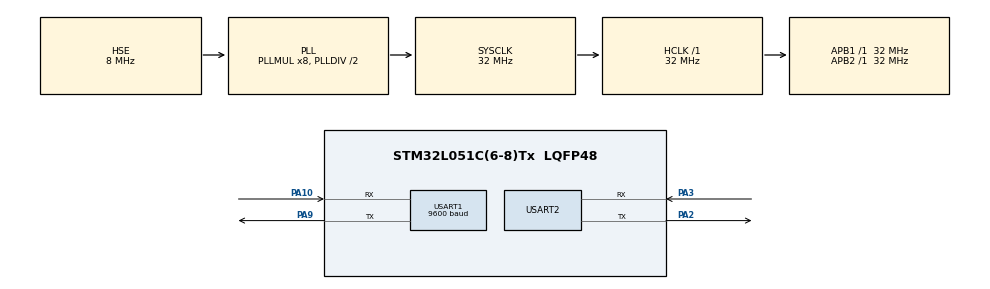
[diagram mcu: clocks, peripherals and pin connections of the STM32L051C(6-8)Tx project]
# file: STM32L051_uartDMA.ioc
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Dma.Request0=USART1_RX
Dma.Request1=USART2_RX
Dma.USART1_RX.0.Direction=DMA_PERIPH_TO_MEMORY
Dma.USART1_RX.0.Instance=DMA1_Channel3
Dma.USART1_RX.0.MemDataAlignment=DMA_MDATAALIGN_BYTE
Dma.USART1_RX.0.MemInc=DMA_MINC_ENABLE
Dma.USART1_RX.0.Mode=DMA_CIRCULAR
Dma.USART1_RX.0.PeriphDataAlignment=DMA_PDATAALIGN_BYTE
Dma.USART1_RX.0.PeriphInc=DMA_PINC_DISABLE
Dma.USART1_RX.0.Priority=DMA_PRIORITY_LOW
Dma.USART2_RX.1.Direction=DMA_PERIPH_TO_MEMORY
Dma.USART2_RX.1.Instance=DMA1_Channel5
Dma.USART2_RX.1.MemDataAlignment=DMA_MDATAALIGN_BYTE
Dma.USART2_RX.1.MemInc=DMA_MINC_ENABLE
Dma.USART2_RX.1.Mode=DMA_CIRCULAR
Dma.USART2_RX.1.PeriphDataAlignment=DMA_PDATAALIGN_BYTE
Dma.USART2_RX.1.PeriphInc=DMA_PINC_DISABLE
Dma.USART2_RX.1.Priority=DMA_PRIORITY_LOW
Mcu.Family=STM32L0
Mcu.Name=STM32L051C(6-8)Tx
Mcu.Package=LQFP48
NVIC.DMA1_Channel2_3_IRQn=true\:0\:0\:false\:false\:true\:false\:true
NVIC.DMA1_Channel4_5_6_7_IRQn=true\:0\:0\:false\:false\:true\:false\:true
NVIC.USART1_IRQn=true\:0\:0\:false\:false\:true\:true\:true
NVIC.USART2_IRQn=true\:0\:0\:false\:false\:true\:true\:true
PA10.Mode=Asynchronous
PA10.Signal=USART1_RX
PA13.Mode=Serial_Wire
PA13.Signal=SYS_SWDIO
PA14.Mode=Serial_Wire
PA14.Signal=SYS_SWCLK
PA2.Mode=Asynchronous
PA2.Signal=USART2_TX
PA3.Mode=Asynchronous
PA3.Signal=USART2_RX
PA9.Mode=Asynchronous
PA9.Signal=USART1_TX
PH0-OSC_IN.Mode=HSE-External-Oscillator
PH0-OSC_IN.Signal=RCC_OSC_IN
PH1-OSC_OUT.Mode=HSE-External-Oscillator
PH1-OSC_OUT.Signal=RCC_OSC_OUT
ProjectManager.HeapSize=0x200
ProjectManager.StackSize=0x400
ProjectManager.TargetToolchain=MDK-ARM V5.27
RCC.AHBFreq_Value=32000000
RCC.APB1Freq_Value=32000000
RCC.APB1TimFreq_Value=32000000
RCC.APB2Freq_Value=32000000
RCC.APB2TimFreq_Value=32000000
RCC.HCLKFreq_Value=32000000
RCC.HSE_VALUE=8000000
RCC.HSI16_VALUE=16000000
RCC.HSI_VALUE=16000000
RCC.LSE_VALUE=32768
RCC.MSI_VALUE=2097000
RCC.PLLMUL=RCC_PLLMUL_8
RCC.PLLSourceVirtual=RCC_PLLSOURCE_HSE
RCC.SYSCLKFreq_VALUE=32000000
RCC.SYSCLKSource=RCC_SYSCLKSOURCE_PLLCLK
RCC.VCOOutputFreq_Value=64000000
USART1.BaudRate=9600
USART1.VirtualMode-Asynchronous=VM_ASYNC
USART2.VirtualMode-Asynchronous=VM_ASYNC
VP_IWDG_VS_IWDG.Mode=IWDG_Activate
board=custom

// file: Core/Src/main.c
/* USER CODE BEGIN Header */
/**
  ******************************************************************************
  * @file           : main.c
  * @brief          : Main program body
  ******************************************************************************
  * @attention
  *
  * <h2><center>&copy; Copyright (c) 2021 STMicroelectronics.
  * All rights reserved.</center></h2>
  *
  * This software component is licensed by ST under BSD 3-Clause license,
  * the "License"; You may not use this file except in compliance with the
  * License. You may obtain a copy of the License at:
  *                        opensource.org/licenses/BSD-3-Clause
  *
  ******************************************************************************
  */
/* USER CODE END Header */
#include "main.h"

/* USER CODE BEGIN Includes */
#include <string.h>
#include <stdlib.h>
/* USER CODE END Includes */

IWDG_HandleTypeDef hiwdg;

UART_HandleTypeDef huart1;
UART_HandleTypeDef huart2;
DMA_HandleTypeDef hdma_usart1_rx;
DMA_HandleTypeDef hdma_usart2_rx;

void SystemClock_Config(void);
static void MX_GPIO_Init(void);
static void MX_DMA_Init(void);
static void MX_IWDG_Init(void);
static void MX_USART1_UART_Init(void);
static void MX_USART2_UART_Init(void);

/* USER CODE BEGIN 0 */
 UART_DataTypeDef rx1,rx2;

/*******************************************************************************
** 函数名称: UART_Rx_IDLECallback
** 功能描述: 串口接收空闲中断回调
** 参数说明: huart: 串口号
** 返回说明: None
** 创建人员: belen
** 创建日期: 2021-06-01
**------------------------------------------------------------------------------
** 修改人员:
** 修改日期:
** 修改描述:
**------------------------------------------------------------------------------
********************************************************************************/
 void UART_Rx_IDLECallback(UART_HandleTypeDef *huart)
 {
	uint32_t temp;
	uint32_t tmp_flag=0;
	 if (huart->Instance == USART1)
	 {
		 	tmp_flag =__HAL_UART_GET_FLAG(huart,UART_FLAG_IDLE);     //空闲中断,接收到一包数据后发生中断
			if((tmp_flag != RESET))
			{
				__HAL_UART_CLEAR_IDLEFLAG(huart);
				HAL_UART_DMAStop(huart);
				temp = hdma_usart1_rx.Instance->CNDTR;  						//得到空余的数据长度
				rx1.RX_Size =  RX_LEN - temp; 											//得到已接收到的数据长度
				rx1.RX_flag=1;
		 }
	 }
	 if (huart->Instance == USART2)
	 {
		 tmp_flag =__HAL_UART_GET_FLAG(huart,UART_FLAG_IDLE);
			if((tmp_flag != RESET))
			{
				__HAL_UART_CLEAR_IDLEFLAG(huart);
				HAL_UART_DMAStop(huart);
				temp = hdma_usart2_rx.Instance->CNDTR;
				rx2.RX_Size =  RX_LEN - temp;
				rx2.RX_flag=1;
		 }
	 }
}

/*******************************************************************************
** 函数名称: uart_Handle
** 功能描述: 串口处理
** 参数说明: huart: 串口号
**			 rx: 接收数据
** 返回说明: None
** 创建人员: belen
** 创建日期: 2021-06-01
**------------------------------------------------------------------------------
** 修改人员:
** 修改日期:
** 修改描述:
**------------------------------------------------------------------------------
********************************************************************************/
 void uart_Handle(UART_HandleTypeDef *huart,UART_DataTypeDef *rx)
   {
		 if(rx->RX_flag ==1)
			{
				HAL_UART_Transmit(huart ,rx->RX_pData, rx->RX_Size,200);
				memset(rx->RX_pData, 0, rx->RX_Size);
				rx->RX_Size=0;
				rx->RX_flag=0;
			 }
			HAL_UART_Receive_DMA(huart,rx->RX_pData,RX_LEN );
 }

/* USER CODE END 0 */

int main(void)
{

  /* MCU Configuration--------------------------------------------------------*/

  /* Reset of all peripherals, Initializes the Flash interface and the Systick. */
  HAL_Init();

  /* Configure the system clock */
  SystemClock_Config();

  /* Initialize all configured peripherals */
  MX_GPIO_Init();
  MX_DMA_Init();
  //MX_IWDG_Init();
  MX_USART1_UART_Init();
  MX_USART2_UART_Init();

  /* Infinite loop */
  while (1)
  {

    /* USER CODE BEGIN 3 */
		uart_Handle(&huart1,&rx1);
		uart_Handle(&huart2,&rx2);
  }
  /* USER CODE END 3 */
}

void SystemClock_Config(void)
{
  RCC_OscInitTypeDef RCC_OscInitStruct = {0};
  RCC_ClkInitTypeDef RCC_ClkInitStruct = {0};
  RCC_PeriphCLKInitTypeDef PeriphClkInit = {0};

  /** Configure the main internal regulator output voltage
  */
  __HAL_PWR_VOLTAGESCALING_CONFIG(PWR_REGULATOR_VOLTAGE_SCALE1);
  /** Initializes the RCC Oscillators according to the specified parameters
  * in the RCC_OscInitTypeDef structure.
  */
  RCC_OscInitStruct.OscillatorType = RCC_OSCILLATORTYPE_LSI|RCC_OSCILLATORTYPE_HSE;
  RCC_OscInitStruct.HSEState = RCC_HSE_ON;
  RCC_OscInitStruct.LSIState = RCC_LSI_ON;
  RCC_OscInitStruct.PLL.PLLState = RCC_PLL_ON;
  RCC_OscInitStruct.PLL.PLLSource = RCC_PLLSOURCE_HSE;
  RCC_OscInitStruct.PLL.PLLMUL = RCC_PLLMUL_8;
  RCC_OscInitStruct.PLL.PLLDIV = RCC_PLLDIV_2;
  if (HAL_RCC_OscConfig(&RCC_OscInitStruct) != HAL_OK)
  {
    Error_Handler();
  }
  /** Initializes the CPU, AHB and APB buses clocks
  */
  RCC_ClkInitStruct.ClockType = RCC_CLOCKTYPE_HCLK|RCC_CLOCKTYPE_SYSCLK
                              |RCC_CLOCKTYPE_PCLK1|RCC_CLOCKTYPE_PCLK2;
  RCC_ClkInitStruct.SYSCLKSource = RCC_SYSCLKSOURCE_PLLCLK;
  RCC_ClkInitStruct.AHBCLKDivider = RCC_SYSCLK_DIV1;
  RCC_ClkInitStruct.APB1CLKDivider = RCC_HCLK_DIV1;
  RCC_ClkInitStruct.APB2CLKDivider = RCC_HCLK_DIV1;

  if (HAL_RCC_ClockConfig(&RCC_ClkInitStruct, FLASH_LATENCY_1) != HAL_OK)
  {
    Error_Handler();
  }
  PeriphClkInit.PeriphClockSelection = RCC_PERIPHCLK_USART1|RCC_PERIPHCLK_USART2;
  PeriphClkInit.Usart1ClockSelection = RCC_USART1CLKSOURCE_PCLK2;
  PeriphClkInit.Usart2ClockSelection = RCC_USART2CLKSOURCE_PCLK1;
  if (HAL_RCCEx_PeriphCLKConfig(&PeriphClkInit) != HAL_OK)
  {
    Error_Handler();
  }

	 /* Configure the Systick interrupt time */
  HAL_SYSTICK_Config(HAL_RCC_GetHCLKFreq() / 1000);

  /* Configure the Systick */
  HAL_SYSTICK_CLKSourceConfig(SYSTICK_CLKSOURCE_HCLK);

  /* SysTick_IRQn interrupt configuration */
  HAL_NVIC_SetPriority(SysTick_IRQn, 0, 0);

}

static void MX_IWDG_Init(void)
{

  hiwdg.Instance = IWDG;
  hiwdg.Init.Prescaler = IWDG_PRESCALER_4;
  hiwdg.Init.Window = 4095;
  hiwdg.Init.Reload = 4095;
  if (HAL_IWDG_Init(&hiwdg) != HAL_OK)
  {
    Error_Handler();
  }

}

static void MX_USART1_UART_Init(void)
{

  huart1.Instance = USART1;
  huart1.Init.BaudRate = 9600;
  huart1.Init.WordLength = UART_WORDLENGTH_8B;
  huart1.Init.StopBits = UART_STOPBITS_1;
  huart1.Init.Parity = UART_PARITY_NONE;
  huart1.Init.Mode = UART_MODE_TX_RX;
  huart1.Init.HwFlowCtl = UART_HWCONTROL_NONE;
  huart1.Init.OverSampling = UART_OVERSAMPLING_16;
  huart1.Init.OneBitSampling = UART_ONE_BIT_SAMPLE_DISABLE;
  huart1.AdvancedInit.AdvFeatureInit = UART_ADVFEATURE_NO_INIT;
  if (HAL_UART_Init(&huart1) != HAL_OK)
  {
    Error_Handler();
  }
  /* USER CODE BEGIN USART1_Init 2 */
  __HAL_UART_ENABLE_IT(&huart1, UART_IT_IDLE);//使能idle中断
  /* USER CODE END USART1_Init 2 */

}

static void MX_USART2_UART_Init(void)
{

  huart2.Instance = USART2;
  huart2.Init.BaudRate = 115200;
  huart2.Init.WordLength = UART_WORDLENGTH_8B;
  huart2.Init.StopBits = UART_STOPBITS_1;
  huart2.Init.Parity = UART_PARITY_NONE;
  huart2.Init.Mode = UART_MODE_TX_RX;
  huart2.Init.HwFlowCtl = UART_HWCONTROL_NONE;
  huart2.Init.OverSampling = UART_OVERSAMPLING_16;
  huart2.Init.OneBitSampling = UART_ONE_BIT_SAMPLE_DISABLE;
  huart2.AdvancedInit.AdvFeatureInit = UART_ADVFEATURE_NO_INIT;
  if (HAL_UART_Init(&huart2) != HAL_OK)
  {
    Error_Handler();
  }
  /* USER CODE BEGIN USART2_Init 2 */
   __HAL_UART_ENABLE_IT(&huart2, UART_IT_IDLE);//使能idle中断
  /* USER CODE END USART2_Init 2 */

}

static void MX_DMA_Init(void)
{

  /* DMA controller clock enable */
  __HAL_RCC_DMA1_CLK_ENABLE();

  /* DMA interrupt init */
  /* DMA1_Channel2_3_IRQn interrupt configuration */
  HAL_NVIC_SetPriority(DMA1_Channel2_3_IRQn, 0, 0);
  HAL_NVIC_EnableIRQ(DMA1_Channel2_3_IRQn);
  /* DMA1_Channel4_5_6_7_IRQn interrupt configuration */
  HAL_NVIC_SetPriority(DMA1_Channel4_5_6_7_IRQn, 0, 0);
  HAL_NVIC_EnableIRQ(DMA1_Channel4_5_6_7_IRQn);

}

static void MX_GPIO_Init(void)
{
  GPIO_InitTypeDef GPIO_InitStruct = {0};

  /* GPIO Ports Clock Enable */
  __HAL_RCC_GPIOC_CLK_ENABLE();
  __HAL_RCC_GPIOH_CLK_ENABLE();
  __HAL_RCC_GPIOA_CLK_ENABLE();
  __HAL_RCC_GPIOB_CLK_ENABLE();

  /*Configure GPIO pins : PC13 PC14 PC15 */
  GPIO_InitStruct.Pin = GPIO_PIN_13|GPIO_PIN_14|GPIO_PIN_15;
  GPIO_InitStruct.Mode = GPIO_MODE_ANALOG;
  GPIO_InitStruct.Pull = GPIO_NOPULL;
  HAL_GPIO_Init(GPIOC, &GPIO_InitStruct);

  /*Configure GPIO pins : PA0 PA1 PA4 PA5
                           PA6 PA7 PA8 PA11
                           PA12 PA15 */
  GPIO_InitStruct.Pin = GPIO_PIN_0|GPIO_PIN_1|GPIO_PIN_4|GPIO_PIN_5
                          |GPIO_PIN_6|GPIO_PIN_7|GPIO_PIN_8|GPIO_PIN_11
                          |GPIO_PIN_12|GPIO_PIN_15;
  GPIO_InitStruct.Mode = GPIO_MODE_ANALOG;
  GPIO_InitStruct.Pull = GPIO_NOPULL;
  HAL_GPIO_Init(GPIOA, &GPIO_InitStruct);

  /*Configure GPIO pins : PB0 PB1 PB2 PB10
                           PB11 PB12 PB13 PB14
                           PB15 PB3 PB4 PB5
                           PB6 PB7 PB8 PB9 */
  GPIO_InitStruct.Pin = GPIO_PIN_0|GPIO_PIN_1|GPIO_PIN_2|GPIO_PIN_10
                          |GPIO_PIN_11|GPIO_PIN_12|GPIO_PIN_13|GPIO_PIN_14
                          |GPIO_PIN_15|GPIO_PIN_3|GPIO_PIN_4|GPIO_PIN_5
                          |GPIO_PIN_6|GPIO_PIN_7|GPIO_PIN_8|GPIO_PIN_9;
  GPIO_InitStruct.Mode = GPIO_MODE_ANALOG;
  GPIO_InitStruct.Pull = GPIO_NOPULL;
  HAL_GPIO_Init(GPIOB, &GPIO_InitStruct);

}

void Error_Handler(void)
{
  __disable_irq();
  while (1)
  {
  }
}

/************************ (C) COPYRIGHT STMicroelectronics *****END OF FILE****/
